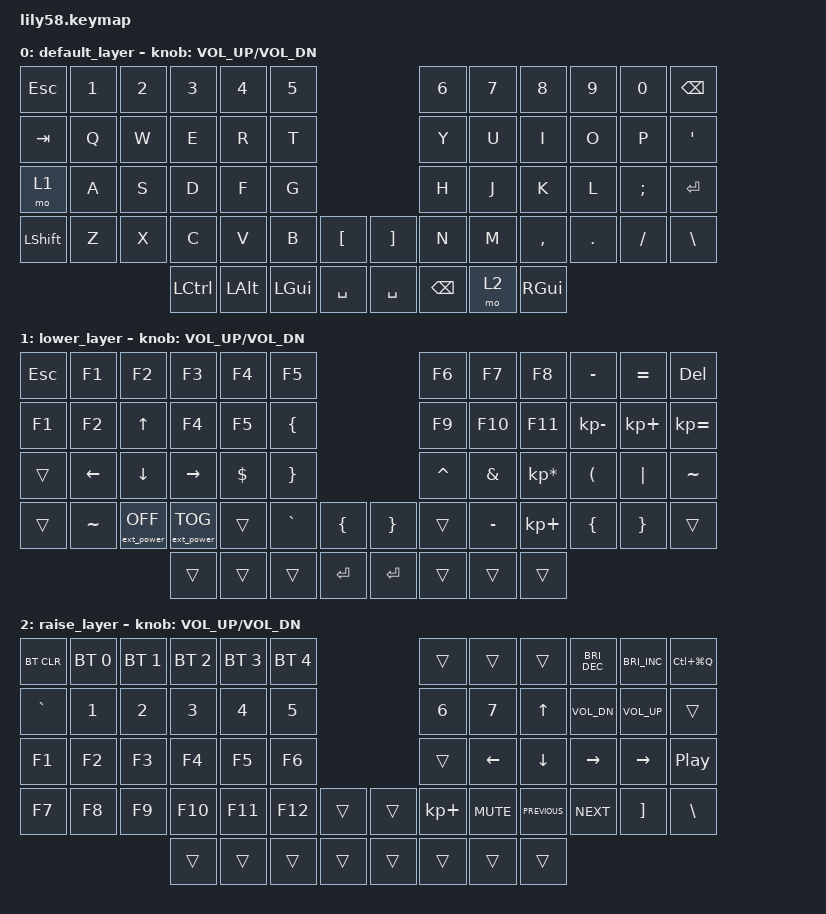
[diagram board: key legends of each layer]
/*
 * Copyright (c) 2020 The ZMK Contributors
 *
 * SPDX-License-Identifier: MIT
 */

#include <behaviors.dtsi>
#include <dt-bindings/zmk/bt.h>
#include <dt-bindings/zmk/ext_power.h>
#include <dt-bindings/zmk/keys.h>

/ {
    keymap {
        compatible = "zmk,keymap";

        default_layer {
            // ------------------------------------------------------------------------------------------------------------
            // |  ESC  |  1  |  2  |  3   |  4   |  5   |                   |  6   |  7    |  8    |  9   |   0   |   `   |
            // |  TAB  |  Q  |  W  |  E   |  R   |  T   |                   |  Y   |  U    |  I    |  O   |   P   |   -   |
            // |  CTRL |  A  |  S  |  D   |  F   |  G   |                   |  H   |  J    |  K    |  L   |   ;   |   '   |
            // | SHIFT |  Z  |  X  |  C   |  V   |  B   |   "["  |  |  "]"  |  N   |  M    |  ,    |  .   |   /   | SHIFT |
            //                     | CTRL  | ALT  | GUI|  SPACE |  | ENTER | RAISE| BSPC  | GUI   |

            bindings = <
&kp ESC    &kp N1  &kp N2  &kp N3     &kp N4    &kp N5                          &kp N6         &kp N7  &kp N8     &kp N9   &kp N0    &kp BSPC
&kp TAB    &kp Q   &kp W   &kp E      &kp R     &kp T                           &kp Y          &kp U   &kp I      &kp O    &kp P     &kp SQT
&mo 1      &kp A   &kp S   &kp D      &kp F     &kp G                           &kp H          &kp J   &kp K      &kp L    &kp SEMI  &kp RET
&kp LSHFT  &kp Z   &kp X   &kp C      &kp V     &kp B     &kp LBKT   &kp RBKT   &kp N          &kp M   &kp COMMA  &kp DOT  &kp FSLH  &kp BACKSLASH
                           &kp LCTRL  &kp LALT  &kp LGUI  &kp SPACE  &kp SPACE  &kp BACKSPACE  &mo 2   &kp RGUI
            >;

            sensor-bindings = <&inc_dec_kp C_VOL_UP C_VOL_DN>;
        };

        lower_layer {
            // ------------------------------------------------------------------------------------------------------------
            // | BTCLR | BT1 | BT2 |  BT3 |  BT4 |  BT5 |                   |      |       |       |      |       |       |
            // |  F1   |  F2 |  F3 |  F4  |  F5  |  F6  |                   |  F7  |  F8   |  F9   |  F10 |  F11  |  F12  |
            // |   `   |  !  |  @  |  #   |  $   |  %   |                   |  ^   |  &    |  *    |  (   |   )   |   ~   |
            // |       |     |     |      |      |      |        |  |       |      |  _    |  +    |  {   |   }   |  "|"  |
            //                     |      |      |      |        |  |       |      |       |       |

            bindings = <
&kp ESC  &kp F1     &kp F2             &kp F3             &kp F4      &kp F5                                      &kp F6     &kp F7     &kp F8           &kp MINUS     &kp EQUAL        &kp DEL
&kp F1   &kp F2     &kp UP             &kp F4             &kp F5      &kp LBRC                                    &kp F9     &kp F10    &kp F11          &kp KP_MINUS  &kp KP_PLUS      &kp KP_EQUAL
&trans   &kp LEFT   &kp DOWN           &kp RIGHT          &kp DOLLAR  &kp RBRC                                    &kp CARET  &kp AMPS   &kp KP_MULTIPLY  &kp LPAR      &kp PIPE         &kp TILDE
&trans   &kp TILDE  &ext_power EP_OFF  &ext_power EP_TOG  &trans      &kp GRAVE  &kp LEFT_BRACE  &kp RIGHT_BRACE  &trans     &kp MINUS  &kp KP_PLUS      &kp LBRC      &kp RIGHT_BRACE  &trans
                                       &trans             &trans      &trans     &kp RET         &kp RET          &trans     &trans     &trans
            >;

            sensor-bindings = <&inc_dec_kp C_VOL_UP C_VOL_DN>;
        };

        raise_layer {
            // ------------------------------------------------------------------------------------------------------------
            // | BTCLR | BT1 | BT2 |  BT3 |  BT4 |  BT5 |                   |      |       |       |      |       |  KSLEEP|
            // |   `   |  1  |  2  |  3   |  4   |  5   |                   |  6   |   7   |   8   |  9   |   0   |       |
            // |   F1  |  F2 |  F3 |  F4  |  F5  |  F6  |                   |      |   <-  |   v   |  ^   |  ->   |       |
            // |   F7  |  F8 |  F9 |  F10 |  F11 |  F12 |        |  |       |  +   |   -   |   =   |  [   |   ]   |   \   |
            //                     |      |      |      |        |  |       |      |       |       |

            bindings = <
&bt BT_CLR  &bt BT_SEL 0  &bt BT_SEL 1  &bt BT_SEL 2  &bt BT_SEL 3  &bt BT_SEL 4                  &trans       &trans      &trans          &kp C_BRIGHTNESS_DEC  &kp C_BRIGHTNESS_INC  &kp LC(LG(Q))
&kp GRAVE   &kp N1        &kp N2        &kp N3        &kp N4        &kp N5                        &kp N6       &kp N7      &kp UP_ARROW    &kp C_VOL_DN          &kp C_VOLUME_UP       &trans
&kp F1      &kp F2        &kp F3        &kp F4        &kp F5        &kp F6                        &trans       &kp LEFT    &kp DOWN        &kp RIGHT             &kp RIGHT             &kp C_PLAY_PAUSE
&kp F7      &kp F8        &kp F9        &kp F10       &kp F11       &kp F12       &trans  &trans  &kp KP_PLUS  &kp C_MUTE  &kp C_PREVIOUS  &kp C_NEXT            &kp RBKT              &kp BSLH
                                        &trans        &trans        &trans        &trans  &trans  &trans       &trans      &trans
            >;

            sensor-bindings = <&inc_dec_kp C_VOL_UP C_VOL_DN>;
        };
    };
};
